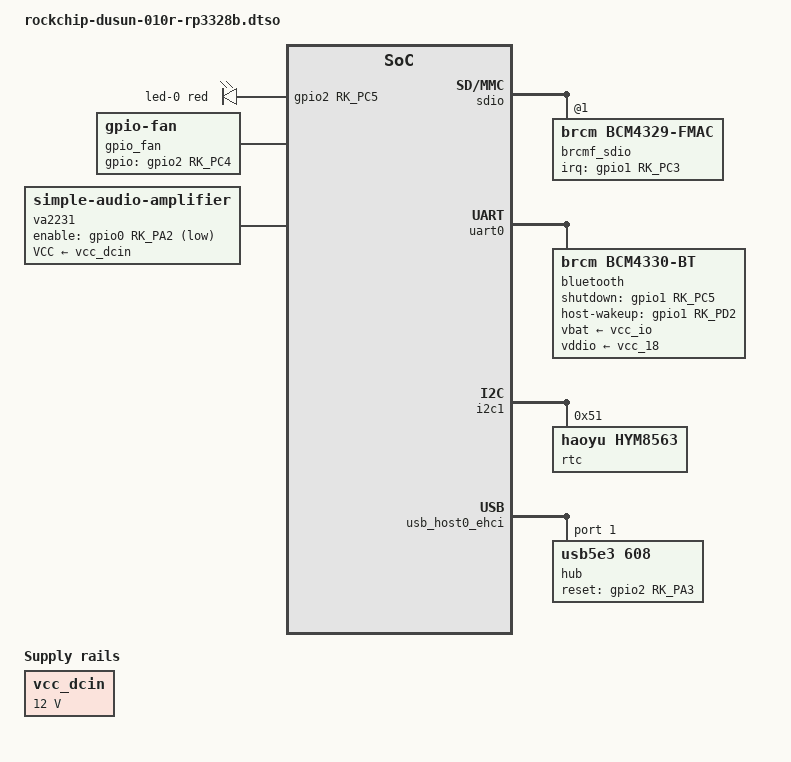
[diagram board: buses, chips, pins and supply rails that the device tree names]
//For Dusun DSOM-010R SoM: enables the peripherals on the official Carrier Board RP3328-B

/dts-v1/;
/plugin/;

#include <dt-bindings/gpio/gpio.h>
#include <dt-bindings/input/input.h>
#include <dt-bindings/leds/common.h>
#include <dt-bindings/pinctrl/rockchip.h>
#include <dt-bindings/interrupt-controller/irq.h>

&{/} {
	compatible = "dusun,dsom-010r", "rockchip,rk3328";

	leds {

		pinctrl-0 = <&led_pin>;
		pinctrl-names = "default";

		led-0 {
			color = <LED_COLOR_ID_RED>;
			gpios = <&gpio2 RK_PC5 GPIO_ACTIVE_HIGH>;
			linux,default-trigger = "heartbeat";
		};

	};

	vcc_dcin: vcc-dcin {
		compatible = "regulator-fixed";
		regulator-name = "vcc_dcin";
		regulator-always-on;
		regulator-boot-on;
		regulator-min-microvolt = <12000000>;
		regulator-max-microvolt = <12000000>;
	};

	gpio_fan: gpio-fan {
		compatible = "gpio-fan";
		gpios = <&gpio2 RK_PC4 GPIO_ACTIVE_HIGH>;
		gpio-fan,speed-map = <0 0>, <4000 1>;
		#cooling-cells = <2>; /* min followed by max */
	};

	va2231: analog-amplifier {
		compatible = "simple-audio-amplifier";
		pinctrl-names = "default";
		pinctrl-0 = <&amp_shutdown>;
		VCC-supply = <&vcc_dcin>;
		enable-gpios = <&gpio0 RK_PA2 GPIO_ACTIVE_LOW>;
	};

};

&vcc_sys {
	vin-supply = <&vcc_dcin>;
};

&vdd_5v0 {
	vin-supply = <&vcc_dcin>;
};

&vdd_3v3 {
	vin-supply = <&vcc_dcin>;
};

&sdio {

	#address-cells = <1>;
	#size-cells = <0>;

	/*
	 * AP6212 combo part
	 */
	brcmf_sdio: wifi@1 {
		reg = <1>;
		compatible = "brcm,bcm4329-fmac";
		//brcm,drive-strength = <2>;
		interrupt-parent = <&gpio1>;
		interrupt-names = "host_wake";
		interrupts = <RK_PC3 IRQ_TYPE_LEVEL_LOW>;
		pinctrl-names = "default";
		pinctrl-0 = <&sdio_host_wake>;
	};

};

&uart0 {

	/*
	 * AP6212 combo parent
	 */
	bluetooth {
		compatible = "brcm,bcm4330-bt";
		max-speed = <4000000>;
		shutdown-gpios = <&gpio1 RK_PC5 GPIO_ACTIVE_HIGH>;
		//device-wakeup-gpios = <&gpio1 RK_PC7 GPIO_ACTIVE_HIGH>;
		host-wakeup-gpios = <&gpio1 RK_PD2 GPIO_ACTIVE_HIGH>;
		vbat-supply = <&vcc_io>;
		vddio-supply = <&vcc_18>;
		pinctrl-names = "default";
		pinctrl-0 = <&bt_reg_on_h>, <&bt_host_wake_l>, <&bt_device_wake_l>;
		/*
		 * interrupt-names = "host-wakeup";
		 * interrupt-parent = <&gpio1>;
		 * interrupts = <RK_PD2 IRQ_TYPE_LEVEL_LOW>;
		 */
		brcm,bt-pcm-int-params = [01 02 00 01 01];
	};

};

&i2c1 {

	#address-cells = <1>;
	#size-cells = <0>;

	rtc@51 {
		status = "okay";
		compatible = "haoyu,hym8563";
		reg = <0x51>;
	};


};

&usb_host0_ehci {

	#address-cells = <1>;
	#size-cells = <0>;

	/*
	 * GL850G onboard USB hub chip
	 */
	hub: hub@1 {
		compatible = "usb5e3,608";
		pinctrl-names = "default";
		pinctrl-0 = <&hub_rst>;
		reg = <1>;
		reset-gpios = <&gpio2 RK_PA3 GPIO_ACTIVE_HIGH>;
	};
};

&pinctrl {

	leds {
		led_pin: led-pin {
			rockchip,pins = <2 RK_PC5 RK_FUNC_GPIO &pcfg_pull_none>;
		};
	};

	va2231 {
		amp_shutdown: amp-shutdown {
			rockchip,pins = <0 RK_PA2 RK_FUNC_GPIO &pcfg_pull_down>;
		};
	};


};

